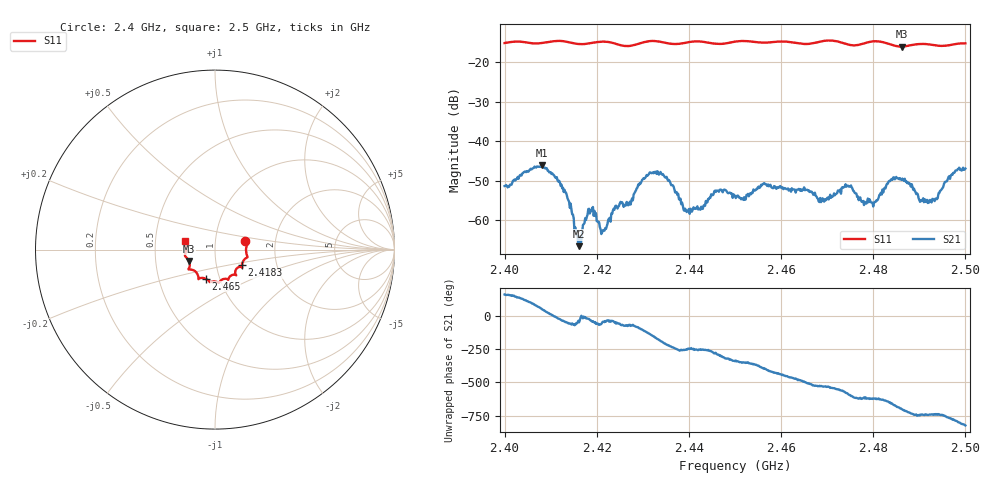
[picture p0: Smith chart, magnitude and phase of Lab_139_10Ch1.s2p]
# Hz S RI R 50
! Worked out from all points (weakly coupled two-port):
!   601 points, 2.4 GHz to 2.5 GHz, reference 50 ohm
!   highest |S21| = -46.18 dB at 2.4082 GHz (marker M1); lowest = -66.6 dB at 2.4162 GHz (marker M2)
!   lowest |S11| = -16.0 dB at 2.4862 GHz (marker M3), VSWR 1.37, Z = 37.1 - j4.82 ohm
!   |S11| at or under -10 dB: start of sweep to end of sweep
!   S12 and S22 are empty: the file has one direction only
!   S11 on the Smith chart (normalised r, x): 2.4 GHz: 1.40, +0.13; 2.4183 GHz: 1.33, -0.24; 2.465 GHz: 0.86, -0.29; 2.5 GHz: 0.71, +0.07
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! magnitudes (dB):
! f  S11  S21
! 2.4 GHz  -15.1  -51.4
! 2.4082 GHz  -15.1  -46.2
! 2.4132 GHz  -14.7  -53.0
! 2.4162 GHz  -15.4  -66.6
! 2.4167 GHz  -15.4  -64.9
! 2.4183 GHz  -15.2  -57.2
! 2.4215 GHz  -14.8  -62.7
! 2.4238 GHz  -15.2  -57.4
! 2.4333 GHz  -14.7  -48.2
! 2.4393 GHz  -15.0  -57.5
! 2.4462 GHz  -15.3  -52.5
! 2.45 GHz  -14.8  -53.9
! 2.4562 GHz  -15.0  -50.8
! 2.465 GHz  -15.4  -51.7
! 2.4667 GHz  -15.2  -52.9
! 2.4692 GHz  -14.6  -54.9
! 2.4745 GHz  -15.5  -51.3
! 2.48 GHz  -14.7  -56.6
! 2.4833 GHz  -15.3  -50.3
! 2.4862 GHz  -16.0  -49.9
! 2.4922 GHz  -15.5  -55.6
! 2.5 GHz  -15.2  -47.0
